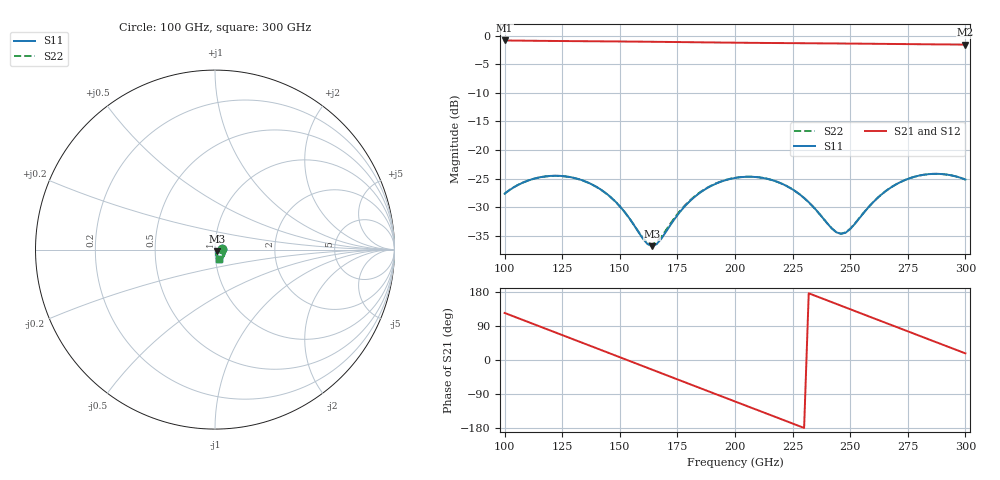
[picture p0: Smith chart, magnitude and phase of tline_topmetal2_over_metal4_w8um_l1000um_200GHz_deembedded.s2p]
! Created with skrf 2.2.0 (http://scikit-rf.org).
# GHz S DB R 50.0
! Port[1] = P1
! Port[2] = P2
!freq dBS11 angS11 dBS21 angS21 dBS12 angS12 dBS22 angS22
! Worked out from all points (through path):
!   101 points, 100 GHz to 300 GHz, reference 50 ohm
!   highest |S21| = -0.84 dB at 100 GHz (marker M1); lowest = -1.6 dB at 300 GHz (marker M2)
!   group delay of S21, straight-line fit = 6.48 ps
!   lowest |S11| = -36.8 dB at 164 GHz (marker M3), VSWR 1.03, Z = 51.1 - j0.909 ohm
!   |S11| at or under -10 dB: start of sweep to end of sweep
!   |S22| runs from -36.5 to -24.2 dB; largest |S21 - S12| = 1.5e-13
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100  -27.65 4.4  -0.84 124.2  -0.84 124.2  -27.62 3.9
108  -25.70 -7.9  -0.88 105.5  -0.88 105.5  -25.69 -8.3
116  -24.73 -21.6  -0.91 86.8  -0.91 86.8  -24.73 -21.8
124  -24.53 -35.7  -0.94 68.2  -0.94 68.2  -24.55 -35.9
134  -25.34 -53.0  -0.97 44.8  -0.97 44.8  -25.37 -53.0
142  -26.98 -65.4  -1.00 26.1  -1.00 26.1  -27.02 -65.0
150  -29.83 -73.5  -1.02 7.4  -1.02 7.4  -29.86 -72.7
164  -36.83 -38.1  -1.08 -25.4  -1.08 -25.4  -36.50 -36.9
168  -35.54 -15.4  -1.09 -34.8  -1.09 -34.8  -35.20 -15.6
184  -27.72 -7.5  -1.16 -72.1  -1.16 -72.1  -27.64 -8.3
192  -25.85 -18.4  -1.20 -90.8  -1.20 -90.8  -25.80 -19.0
200  -24.90 -31.0  -1.23 -109.4  -1.23 -109.4  -24.87 -31.5
208  -24.71 -44.1  -1.26 -128.0  -1.26 -128.0  -24.70 -44.5
218  -25.52 -59.9  -1.30 -151.3  -1.30 -151.3  -25.52 -60.1
226  -27.16 -70.5  -1.32 -170.0  -1.32 -170.0  -27.17 -70.5
234  -29.96 -75.4  -1.34 171.4  -1.34 171.4  -29.97 -75.3
246  -34.69 -45.6  -1.38 143.3  -1.38 143.3  -34.64 -45.3
258  -30.00 -13.8  -1.42 115.3  -1.42 115.3  -29.97 -13.7
268  -26.48 -20.2  -1.46 92.0  -1.46 92.0  -26.47 -20.1
282  -24.33 -40.3  -1.51 59.4  -1.51 59.4  -24.33 -39.9
292  -24.31 -56.1  -1.54 36.1  -1.54 36.1  -24.31 -55.6
300  -25.18 -67.9  -1.57 17.5  -1.57 17.5  -25.18 -67.2
